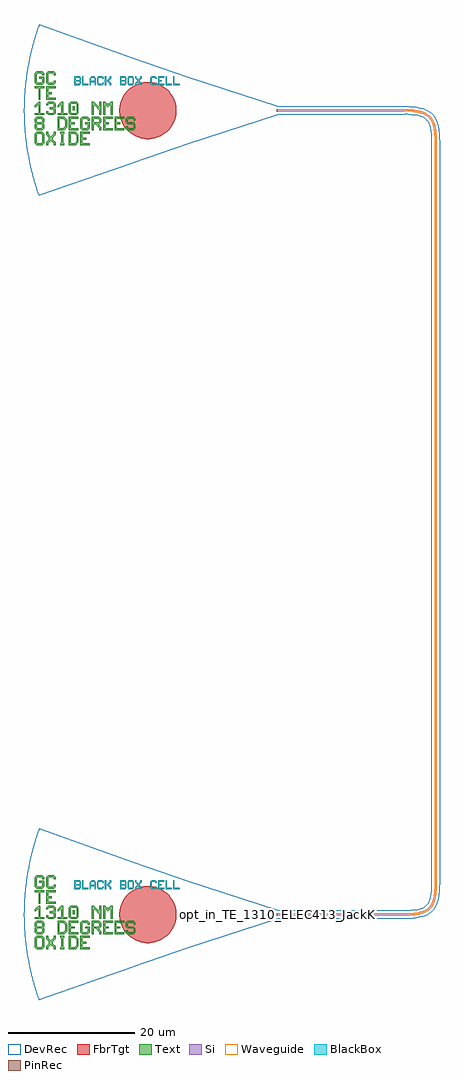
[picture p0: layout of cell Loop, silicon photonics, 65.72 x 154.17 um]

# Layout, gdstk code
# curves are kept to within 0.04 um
import gdstk
lib = gdstk.Library(unit=1e-6, precision=1e-09)
def R(c, l, rs):  # rectangles x0, y0, x1, y1
    for r in rs: c.add(gdstk.rectangle(r[:2], r[2:], *l))
def P(c, l, *ps):  # polygons
    for p in ps: c.add(gdstk.Polygon(p, *l))
Si = (1, 0)
PinRec = (1, 10)
Waveguide = (1, 99)
Text = (10, 0)
DevRec = (68, 0)
FbrTgt = (81, 0)
BlackBox = (998, 0)

waveguide_4 = lib.new_cell('Waveguide$4')
P(waveguide_4, Si, [(39.969,183.25),(39.969,183.6),(60.04,183.6),(61.777,183.691),(62.397,183.797),(63.049,183.994),(63.479,184.208),(63.836,184.473),(64.196,184.89),(64.421,185.3),(64.726,186.367),(64.825,187.213),(64.865,188.425),(64.865,305.425),(64.826,306.636),(64.698,307.636),(64.516,308.314),(64.316,308.764),(64.064,309.139),(63.755,309.448),(63.38,309.7),(62.93,309.9),(62.398,310.052),(61.608,310.178),(60.04,310.25),(39.969,310.25),(39.969,310.6),(60.043,310.6),(61.278,310.56),(62.158,310.455),(62.911,310.276),(63.548,310.006),(64.073,309.636),(64.487,309.155),(64.795,308.564),(65.01,307.858),(65.142,307.03),(65.211,305.86),(65.215,188.422),(65.175,187.187),(65.07,186.307),(64.891,185.554),(64.683,185.035),(64.412,184.589),(64.072,184.213),(63.661,183.908),(63.179,183.67),(62.624,183.491),(61.821,183.343),(60.04,183.25)])
P(waveguide_4, Waveguide, [(39.969,183.25),(39.969,183.6),(60.04,183.6),(61.777,183.691),(62.397,183.797),(63.049,183.994),(63.479,184.208),(63.836,184.473),(64.196,184.89),(64.421,185.3),(64.726,186.367),(64.825,187.213),(64.865,188.425),(64.865,305.425),(64.826,306.636),(64.698,307.636),(64.516,308.314),(64.316,308.764),(64.064,309.139),(63.755,309.448),(63.38,309.7),(62.93,309.9),(62.398,310.052),(61.608,310.178),(60.04,310.25),(39.969,310.25),(39.969,310.6),(60.043,310.6),(61.278,310.56),(62.158,310.455),(62.911,310.276),(63.548,310.006),(64.073,309.636),(64.487,309.155),(64.795,308.564),(65.01,307.858),(65.142,307.03),(65.211,305.86),(65.215,188.422),(65.175,187.187),(65.07,186.307),(64.891,185.554),(64.683,185.035),(64.412,184.589),(64.072,184.213),(63.661,183.908),(63.179,183.67),(62.624,183.491),(61.821,183.343),(60.04,183.25)])
P(waveguide_4, DevRec, [(39.969,182.75),(39.969,184.1),(60.04,184.1),(61.795,184.198),(62.638,184.379),(62.966,184.502),(63.464,184.81),(63.654,185),(63.962,185.498),(64.266,186.669),(64.365,188.425),(64.365,305.425),(64.323,306.661),(64.188,307.633),(64.086,308.023),(63.819,308.622),(63.655,308.849),(63.238,309.203),(62.639,309.47),(62.249,309.572),(61.277,309.707),(60.04,309.75),(39.969,309.75),(39.969,311.1),(60.052,311.1),(61.982,310.989),(63.045,310.758),(63.519,310.579),(64.341,310.065),(64.681,309.725),(64.965,309.336),(65.374,308.429),(65.605,307.366),(65.705,306.123),(65.715,188.413),(65.604,186.483),(65.373,185.42),(65.194,184.946),(64.68,184.124),(64.34,183.784),(63.518,183.27),(63.044,183.091),(61.981,182.86),(60.04,182.75)])
waveguide_4.add(gdstk.FlexPath([(39.979,183.425),(39.959,183.425)], 0.35, ends="flush", simple_path=True, layer=1, datatype=10))  # PinRec
waveguide_4.add(gdstk.FlexPath([(39.979,310.425),(39.959,310.425)], 0.35, ends="flush", simple_path=True, layer=1, datatype=10))  # PinRec
waveguide_4.add(gdstk.Label('opt1', (39.969,183.425), layer=1, texttype=10))
waveguide_4.add(gdstk.Label('opt2', (39.969,310.425), layer=1, texttype=10))
waveguide_4.add(gdstk.Label('Lumerical_INTERCONNECT_library=Design kits/EBeam', (39.969,183.355), layer=68, texttype=0))
waveguide_4.add(gdstk.Label('Component=ebeam_wg_integral_1310', (39.969,183.495), layer=68, texttype=0))
waveguide_4.add(gdstk.Label('cellName=Waveguide', (39.969,183.565), layer=68, texttype=0))
waveguide_4.add(gdstk.Label('Spice_param:wg_length=0.000174049 wg_width=3.5e-07 points="[[39.969,183.425],[65.04,183.425],[65.04,310.425],[39.969,310.425]]" radius=5e-06', (39.969,183.425), layer=68, texttype=0))
waveguide_4.add(gdstk.Label('Length=174.049 (microns)', (39.969,183.005), layer=68, texttype=0))
waveguide_4.add(gdstk.Label('waveguide_type=Strip TE 1310 nm, w=350 nm', (39.969,183.285), layer=68, texttype=0))

text = lib.new_cell('TEXT')
P(text, BlackBox, [(0,0),(0,1.4),(0.8,1.4),(1,1.2),(0.2,1.2),(0.2,0.8),(0.7,0.8),(0.8,0.9),(0.8,1.1),(0.7,1.2),(1,1.2),(1,0.8),(0.9,0.7),(1,0.6),(0.2,0.6),(0.2,0.2),(0.7,0.2),(0.8,0.3),(0.8,0.5),(0.7,0.6),(1,0.6),(1,0.2),(0.8,0)],
  [(1.2,0),(1.2,1.4),(1.4,1.4),(1.4,0.2),(2.2,0.2),(2.2,0)],
  [(2.4,0),(2.4,1.1),(2.7,1.4),(3.1,1.4),(3.3,1.2),(2.8,1.2),(2.6,1),(2.6,0.7),(3.2,0.7),(3.2,1),(3,1.2),(3.3,1.2),(3.4,1.1),(3.4,0),(3.2,0),(3.2,0.5),(2.6,0.5),(2.6,0)],
  [(3.8,0),(3.6,0.2),(3.6,1.2),(3.8,1.4),(4.4,1.4),(4.6,1.2),(4.6,1),(4.4,1),(4.4,1.1),(4.3,1.2),(3.9,1.2),(3.8,1.1),(3.8,0.3),(3.9,0.2),(4.3,0.2),(4.4,0.3),(4.4,0.4),(4.6,0.4),(4.6,0.2),(4.4,0)],
  [(4.8,0),(4.8,1.4),(5,1.4),(5,0.8),(5.2,0.8),(5.6,1.2),(5.6,1.4),(5.8,1.4),(5.8,1.1),(5.4,0.7),(5.8,0.3),(5.8,0),(5.6,0),(5.6,0.2),(5.2,0.6),(5,0.6),(5,0)],
  [(7.2,0),(7.2,1.4),(8,1.4),(8.2,1.2),(7.4,1.2),(7.4,0.8),(7.9,0.8),(8,0.9),(8,1.1),(7.9,1.2),(8.2,1.2),(8.2,0.8),(8.1,0.7),(8.2,0.6),(7.4,0.6),(7.4,0.2),(7.9,0.2),(8,0.3),(8,0.5),(7.9,0.6),(8.2,0.6),(8.2,0.2),(8,0)],
  [(8.6,0),(8.4,0.2),(8.4,1.2),(8.6,1.4),(9.2,1.4),(9.4,1.2),(9.4,0.7),(9.2,0.7),(9.2,1.1),(9.1,1.2),(8.7,1.2),(8.6,1.1),(8.6,0.3),(8.7,0.2),(9.1,0.2),(9.2,0.3),(9.2,0.7),(9.4,0.7),(9.4,0.2),(9.2,0)],
  [(9.6,0),(9.6,0.3),(9.9,0.6),(9.9,0.8),(9.6,1.1),(9.6,1.4),(9.8,1.4),(9.8,1.2),(10.1,0.9),(10.4,1.2),(10.4,1.4),(10.6,1.4),(10.6,1.1),(10.3,0.8),(10.3,0.6),(10.6,0.3),(10.6,0),(10.4,0),(10.4,0.2),(10.1,0.5),(9.8,0.2),(9.8,0)],
  [(12.2,0),(12,0.2),(12,1.2),(12.2,1.4),(12.8,1.4),(13,1.2),(13,1),(12.8,1),(12.8,1.1),(12.7,1.2),(12.3,1.2),(12.2,1.1),(12.2,0.3),(12.3,0.2),(12.7,0.2),(12.8,0.3),(12.8,0.4),(13,0.4),(13,0.2),(12.8,0)],
  [(13.2,0),(13.2,1.4),(14.2,1.4),(14.2,1.2),(13.4,1.2),(13.4,0.8),(13.8,0.8),(13.8,0.6),(13.4,0.6),(13.4,0.2),(14.2,0.2),(14.2,0)],
  [(14.4,0),(14.4,1.4),(14.6,1.4),(14.6,0.2),(15.4,0.2),(15.4,0)],
  [(15.6,0),(15.6,1.4),(15.8,1.4),(15.8,0.2),(16.6,0.2),(16.6,0)])

gc_te_1310_8degoxide_bb = lib.new_cell('GC_TE_1310_8degOxide_BB')
R(gc_te_1310_8degoxide_bb, Text, [(-32.27,0.06,-31.97,0.66)])
P(gc_te_1310_8degoxide_bb, Text, [(-37.67,1.71),(-37.67,3.51),(-38.27,3.51),(-38.27,3.81),(-36.77,3.81),(-36.77,3.51),(-37.37,3.51),(-37.37,1.71)],
  [(-37.97,-5.49),(-38.27,-5.19),(-38.27,-3.69),(-37.97,-3.39),(-37.07,-3.39),(-36.77,-3.69),(-36.77,-4.44),(-37.07,-4.44),(-37.07,-3.84),(-37.22,-3.69),(-37.82,-3.69),(-37.97,-3.84),(-37.97,-5.04),(-37.82,-5.19),(-37.22,-5.19),(-37.07,-5.04),(-37.07,-4.44),(-36.77,-4.44),(-36.77,-5.19),(-37.07,-5.49)],
  [(-31.07,-5.49),(-31.07,-3.39),(-29.57,-3.39),(-29.57,-3.69),(-30.77,-3.69),(-30.77,-4.29),(-30.17,-4.29),(-30.17,-4.59),(-30.77,-4.59),(-30.77,-5.19),(-29.57,-5.19),(-29.57,-5.49)],
  [(-32.87,-3.09),(-32.87,-0.99),(-31.37,-0.99),(-31.37,-1.29),(-32.57,-1.29),(-32.57,-1.89),(-31.97,-1.89),(-31.97,-2.19),(-32.57,-2.19),(-32.57,-2.79),(-31.37,-2.79),(-31.37,-3.09)],
  [(-27.47,-3.09),(-27.47,-0.99),(-25.97,-0.99),(-25.97,-1.29),(-27.17,-1.29),(-27.17,-1.89),(-26.57,-1.89),(-26.57,-2.19),(-27.17,-2.19),(-27.17,-2.79),(-25.97,-2.79),(-25.97,-3.09)],
  [(-25.67,-3.09),(-25.67,-0.99),(-24.17,-0.99),(-24.17,-1.29),(-25.37,-1.29),(-25.37,-1.89),(-24.77,-1.89),(-24.77,-2.19),(-25.37,-2.19),(-25.37,-2.79),(-24.17,-2.79),(-24.17,-3.09)],
  [(-36.47,1.71),(-36.47,3.81),(-34.97,3.81),(-34.97,3.51),(-36.17,3.51),(-36.17,2.91),(-35.57,2.91),(-35.57,2.61),(-36.17,2.61),(-36.17,2.01),(-34.97,2.01),(-34.97,1.71)],
  [(-27.47,-0.69),(-27.47,1.41),(-27.17,1.41),(-26.87,1.11),(-26.57,1.11),(-26.27,1.41),(-25.97,1.41),(-25.97,-0.69),(-26.27,-0.69),(-26.27,0.81),(-26.42,0.81),(-26.72,0.51),(-27.02,0.81),(-27.17,0.81),(-27.17,-0.69)],
  [(-29.27,-0.69),(-29.27,1.41),(-28.97,1.41),(-28.22,0.66),(-28.07,0.66),(-28.07,1.41),(-27.77,1.41),(-27.77,-0.69),(-28.07,-0.69),(-28.07,0.06),(-28.82,0.81),(-28.97,0.81),(-28.97,-0.69)],
  [(-34.22,-5.49),(-34.22,-5.19),(-34.07,-5.19),(-34.07,-3.69),(-34.22,-3.69),(-34.22,-3.39),(-33.62,-3.39),(-33.62,-3.69),(-33.77,-3.69),(-33.77,-5.19),(-33.62,-5.19),(-33.62,-5.49)],
  [(-36.17,-0.69),(-36.47,-0.39),(-36.47,-0.09),(-36.17,-0.09),(-36.17,-0.24),(-36.02,-0.39),(-35.42,-0.39),(-35.27,-0.24),(-35.27,0.06),(-35.42,0.21),(-35.87,0.21),(-35.87,0.51),(-35.42,0.51),(-35.27,0.66),(-35.27,0.96),(-35.42,1.11),(-36.02,1.11),(-36.17,0.96),(-36.17,0.81),(-36.47,0.81),(-36.47,1.11),(-36.17,1.41),(-35.27,1.41),(-34.97,1.11),(-34.97,0.51),(-35.12,0.36),(-34.97,0.21),(-34.97,-0.39),(-35.27,-0.69)],
  [(-29.27,-3.09),(-29.27,-0.99),(-28.07,-0.99),(-27.77,-1.29),(-28.97,-1.29),(-28.97,-1.89),(-28.22,-1.89),(-28.07,-1.74),(-28.07,-1.44),(-28.22,-1.29),(-27.77,-1.29),(-27.77,-1.89),(-28.07,-2.19),(-28.07,-2.34),(-27.77,-2.64),(-27.77,-3.09),(-28.07,-3.09),(-28.07,-2.79),(-28.67,-2.19),(-28.97,-2.19),(-28.97,-3.09)],
  [(-30.77,-3.09),(-31.07,-2.79),(-31.07,-1.29),(-30.77,-0.99),(-29.87,-0.99),(-29.57,-1.29),(-29.57,-1.59),(-29.87,-1.59),(-29.87,-1.44),(-30.02,-1.29),(-30.62,-1.29),(-30.77,-1.44),(-30.77,-2.64),(-30.62,-2.79),(-30.02,-2.79),(-29.87,-2.64),(-29.87,-2.19),(-30.32,-2.19),(-30.32,-1.89),(-29.57,-1.89),(-29.57,-2.79),(-29.87,-3.09)],
  [(-37.97,4.11),(-38.27,4.41),(-38.27,5.91),(-37.97,6.21),(-37.07,6.21),(-36.77,5.91),(-36.77,5.61),(-37.07,5.61),(-37.07,5.76),(-37.22,5.91),(-37.82,5.91),(-37.97,5.76),(-37.97,4.56),(-37.82,4.41),(-37.22,4.41),(-37.07,4.56),(-37.07,5.01),(-37.52,5.01),(-37.52,5.31),(-36.77,5.31),(-36.77,4.41),(-37.07,4.11)],
  [(-32.57,-0.69),(-32.87,-0.39),(-32.87,1.11),(-32.57,1.41),(-31.67,1.41),(-31.37,1.11),(-32.42,1.11),(-32.57,0.96),(-32.57,-0.24),(-32.42,-0.39),(-31.82,-0.39),(-31.67,-0.24),(-31.67,0.96),(-31.82,1.11),(-31.37,1.11),(-31.37,-0.39),(-31.67,-0.69)],
  [(-32.87,-5.49),(-32.87,-3.39),(-31.82,-3.39),(-31.52,-3.69),(-32.57,-3.69),(-32.57,-5.19),(-31.97,-5.19),(-31.67,-4.89),(-31.67,-3.99),(-31.97,-3.69),(-31.52,-3.69),(-31.37,-3.84),(-31.37,-5.04),(-31.82,-5.49)],
  [(-34.67,-3.09),(-34.67,-0.99),(-33.62,-0.99),(-33.32,-1.29),(-34.37,-1.29),(-34.37,-2.79),(-33.77,-2.79),(-33.47,-2.49),(-33.47,-1.59),(-33.77,-1.29),(-33.32,-1.29),(-33.17,-1.44),(-33.17,-2.64),(-33.62,-3.09)],
  [(-23.57,-3.09),(-23.87,-2.79),(-23.87,-2.49),(-23.57,-2.49),(-23.57,-2.64),(-23.42,-2.79),(-22.82,-2.79),(-22.67,-2.64),(-22.67,-2.34),(-22.82,-2.19),(-23.57,-2.19),(-23.87,-1.89),(-23.87,-1.29),(-23.57,-0.99),(-22.67,-0.99),(-22.37,-1.29),(-22.37,-1.59),(-22.67,-1.59),(-22.67,-1.44),(-22.82,-1.29),(-23.42,-1.29),(-23.57,-1.44),(-23.57,-1.74),(-23.42,-1.89),(-22.67,-1.89),(-22.37,-2.19),(-22.37,-2.79),(-22.67,-3.09)],
  [(-37.97,-3.09),(-38.27,-2.79),(-38.27,-2.19),(-38.12,-2.04),(-38.27,-1.89),(-38.27,-1.29),(-37.97,-0.99),(-37.07,-0.99),(-36.77,-1.29),(-37.82,-1.29),(-37.97,-1.44),(-37.97,-1.74),(-37.82,-1.89),(-37.22,-1.89),(-37.07,-1.74),(-37.07,-1.44),(-37.22,-1.29),(-36.77,-1.29),(-36.77,-1.89),(-36.92,-2.04),(-36.77,-2.19),(-37.82,-2.19),(-37.97,-2.34),(-37.97,-2.64),(-37.82,-2.79),(-37.22,-2.79),(-37.07,-2.64),(-37.07,-2.34),(-37.22,-2.19),(-36.77,-2.19),(-36.77,-2.79),(-37.07,-3.09)],
  [(-38.27,-0.69),(-38.27,-0.39),(-37.67,-0.39),(-37.67,0.81),(-37.82,0.81),(-38.12,0.51),(-38.27,0.51),(-38.27,0.81),(-37.67,1.41),(-37.37,1.41),(-37.37,-0.39),(-36.77,-0.39),(-36.77,-0.69)],
  [(-34.67,-0.69),(-34.67,-0.39),(-34.07,-0.39),(-34.07,0.81),(-34.22,0.81),(-34.52,0.51),(-34.67,0.51),(-34.67,0.81),(-34.07,1.41),(-33.77,1.41),(-33.77,-0.39),(-33.17,-0.39),(-33.17,-0.69)],
  [(-36.47,-5.49),(-36.47,-5.04),(-36.02,-4.59),(-36.02,-4.29),(-36.47,-3.84),(-36.47,-3.39),(-36.17,-3.39),(-36.17,-3.69),(-35.72,-4.14),(-35.27,-3.69),(-35.27,-3.39),(-34.97,-3.39),(-34.97,-3.84),(-35.42,-4.29),(-35.42,-4.59),(-34.97,-5.04),(-34.97,-5.49),(-35.27,-5.49),(-35.27,-5.19),(-35.72,-4.74),(-36.17,-5.19),(-36.17,-5.49)],
  [(-36.17,4.11),(-36.47,4.41),(-36.47,5.91),(-36.17,6.21),(-35.27,6.21),(-34.97,5.91),(-34.97,5.61),(-35.27,5.61),(-35.27,5.76),(-35.42,5.91),(-36.02,5.91),(-36.17,5.76),(-36.17,4.56),(-36.02,4.41),(-35.42,4.41),(-35.27,4.56),(-35.27,4.71),(-34.97,4.71),(-34.97,4.41),(-35.27,4.11)])
P(gc_te_1310_8degoxide_bb, DevRec, [(-37.607,-13.5),(-38.627,-10.245),(-39.378,-6.832),(-39.647,-5.058),(-39.835,-3.274),(-39.969,0.224),(-39.812,3.541),(-39.331,7.097),(-38.557,10.505),(-37.546,13.669),(-22.8,8.353),(-14.109,5.36),(0,0.75),(0,-0.75),(-14.109,-5.36)])
P(gc_te_1310_8degoxide_bb, FbrTgt, [(-20.621,-4.5),(-21.495,-4.37),(-22.326,-4.073),(-23.084,-3.619),(-23.738,-3.026),(-24.264,-2.316),(-24.642,-1.518),(-24.857,-0.661),(-24.9,0.221),(-24.77,1.095),(-24.473,1.926),(-24.019,2.684),(-23.426,3.338),(-22.716,3.864),(-21.918,4.242),(-21.061,4.457),(-20.179,4.5),(-19.305,4.37),(-18.474,4.073),(-17.716,3.619),(-17.062,3.026),(-16.536,2.316),(-16.158,1.518),(-15.943,0.661),(-15.9,-0.221),(-16.03,-1.095),(-16.327,-1.926),(-16.781,-2.684),(-17.374,-3.338),(-18.084,-3.864),(-18.882,-4.242),(-19.739,-4.457)])
gc_te_1310_8degoxide_bb.add(gdstk.FlexPath([(-0.01,0),(0.01,0)], 0.35, ends="flush", simple_path=True, layer=1, datatype=10))  # PinRec
gc_te_1310_8degoxide_bb.add(gdstk.Reference(text, (-32,4)))
gc_te_1310_8degoxide_bb.add(gdstk.Label('opt1', (0,0), layer=1, texttype=10))
gc_te_1310_8degoxide_bb.add(gdstk.Label('Component=GC_TE_1310_8degOxide_BB', (-28,-5), layer=68, texttype=0))

loop = lib.new_cell('Loop')
loop.add(gdstk.Reference(waveguide_4, (0,0)))
loop.add(gdstk.Reference(gc_te_1310_8degoxide_bb, (39.969,183.425)))
loop.add(gdstk.Reference(gc_te_1310_8degoxide_bb, (39.969,310.425)))
loop.add(gdstk.Label('opt_in_TE_1310_ELEC413_JackKliewer_loop', (39.969,183.425), layer=10, texttype=0))

lib.write_gds('Loop.gds')
